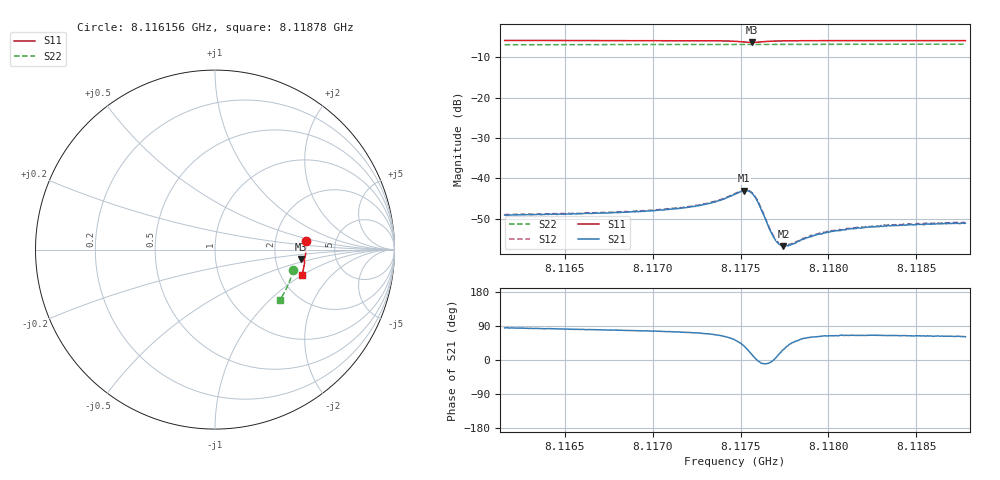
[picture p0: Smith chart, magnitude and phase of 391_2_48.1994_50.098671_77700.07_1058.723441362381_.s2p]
#  HZ  S  RI  R  50.00
! Rohde & Schwarz Vector Network Analyzer
! Rohde-Schwarz,ZNB20-2Port,1311601062101988,3.16
! Created: UTC 3/20/2024, 11:53:37 AM
! freq[Hz]  re:S11  im:S11  re:S21  im:S21  re:S12  im:S12  re:S22  im:S22
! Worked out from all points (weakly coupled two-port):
!   401 points, 8.116156 GHz to 8.11878 GHz, reference 50 ohm
!   highest |S21| = -43.01 dB at 8.117521 GHz (marker M1); lowest = -56.8 dB at 8.117744 GHz (marker M2)
!   lowest |S11| = -6.4 dB at 8.117567 GHz (marker M3), VSWR 2.84, Z = 139 - j18.9 ohm
!   |S11| at or under -10 dB: nowhere
!   |S22| runs from -7.0 to -6.8 dB; largest |S21 - S12| = 0.00018
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8.1161565e9  0.5051 0.0466  0.000327 0.00351  0.000383 0.00355  0.4349 -0.1118
8.1165959e9  0.5063 0.0135  0.000594 0.00361  0.000638 0.00368  0.4275 -0.1415
8.1170354e9  0.5051 -0.0207  0.000995 0.00394  0.00104 0.00399  0.4181 -0.1706
8.1171534e9  0.5042 -0.0304  0.00118 0.00412  0.00125 0.00415  0.4151 -0.1782
8.1172977e9  0.5018 -0.0431  0.00168 0.00449  0.00173 0.00451  0.4113 -0.1877
8.1173961e9  0.4981 -0.0528  0.00245 0.00492  0.00253 0.00496  0.4086 -0.1941
8.1174683e9  0.4914 -0.0599  0.00386 0.00509  0.00397 0.00515  0.4063 -0.1988
8.1175207e9  0.482 -0.061  0.00568 0.00421  0.00584 0.00421  0.4043 -0.2019
8.117547e9  0.4777 -0.057  0.00636 0.0028  0.00651 0.0028  0.4036 -0.2031
8.1175667e9  0.4769 -0.0523  0.00632 0.00146  0.00645 0.00147  0.403 -0.2041
8.1175863e9  0.4788 -0.048  0.00569 0.000311  0.00579 0.000264  0.4025 -0.2051
8.1175995e9  0.4812 -0.0463  0.00505 -0.000211  0.00517 -0.000268  0.4023 -0.2059
8.117665e9  0.493 -0.0486  0.00234 -0.000301  0.0024 -0.00031  0.4011 -0.2101
8.1176913e9  0.4955 -0.0518  0.00183 2.47e-05  0.00188 9.5e-06  0.4003 -0.2118
8.1177175e9  0.4969 -0.055  0.0015 0.000391  0.00154 0.000346  0.3994 -0.2134
8.1177438e9  0.498 -0.0581  0.00129 0.000672  0.00134 0.000686  0.3987 -0.2151
8.1177831e9  0.4986 -0.0625  0.0011 0.00101  0.00114 0.00101  0.3976 -0.2178
8.1179077e9  0.4986 -0.0746  0.000942 0.00169  0.000987 0.00165  0.3937 -0.2257
8.1179668e9  0.4981 -0.0798  0.000946 0.00186  0.000954 0.0019  0.3918 -0.2294
8.1181176e9  0.4963 -0.092  0.00101 0.00214  0.00103 0.00217  0.3866 -0.2387
8.1183472e9  0.4927 -0.1096  0.00112 0.00235  0.00117 0.00242  0.3784 -0.2527
8.1187801e9  0.4843 -0.1414  0.00135 0.00245  0.00136 0.00251  0.3618 -0.2781
